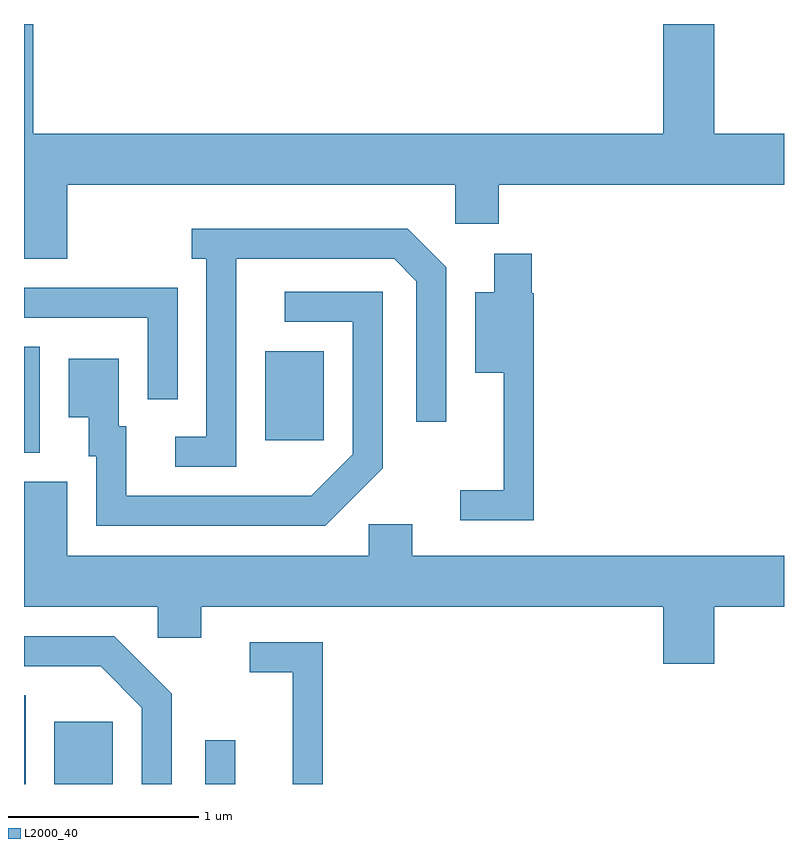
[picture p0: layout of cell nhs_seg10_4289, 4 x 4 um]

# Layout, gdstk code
import gdstk
lib = gdstk.Library(unit=1e-6, precision=1e-09)
def R(c, l, rs):  # rectangles x0, y0, x1, y1
    for r in rs: c.add(gdstk.rectangle(r[:2], r[2:], *l))
def P(c, l, *ps):  # polygons
    for p in ps: c.add(gdstk.Polygon(p, *l))
L2000_40 = (2000, 40)

nhs_seg10_4289 = lib.new_cell('nhs_seg10_4289')
R(nhs_seg10_4289, L2000_40, [(311.611,2128.522,311.619,2128.989), (311.771,2128.522,312.079,2128.849), (312.566,2128.522,312.724,2128.753), (311.611,2130.266,311.694,2130.824), (312.881,2130.331,313.189,2130.799)])
P(nhs_seg10_4289, L2000_40, [(311.839,2131.676),(313.881,2131.676),(313.881,2131.471),(314.109,2131.471),(314.109,2131.676),(315.611,2131.676),(315.611,2131.944),(315.244,2131.944),(315.244,2132.522),(314.976,2132.522),(314.976,2131.944),(311.659,2131.944),(311.659,2132.522),(311.611,2132.522),(311.611,2131.286),(311.839,2131.286)],
  [(312.729,2131.286),(313.559,2131.286),(313.676,2131.169),(313.676,2130.428),(313.834,2130.428),(313.834,2131.242),(313.632,2131.444),(312.493,2131.444),(312.493,2131.286),(312.571,2131.286),(312.571,2130.349),(312.408,2130.349),(312.408,2130.191),(312.729,2130.191)],
  [(314.294,2131.105),(314.284,2131.105),(314.284,2131.314),(314.086,2131.314),(314.086,2131.109),(313.986,2131.109),(313.986,2130.686),(314.136,2130.686),(314.136,2130.069),(313.908,2130.069),(313.908,2129.911),(314.294,2129.911)],
  [(312.419,2131.134),(311.611,2131.134),(311.611,2130.976),(312.261,2130.976),(312.261,2130.548),(312.419,2130.548)],
  [(313.499,2130.184),(313.499,2131.114),(312.983,2131.114),(312.983,2130.956),(313.341,2130.956),(313.341,2130.257),(313.124,2130.039),(312.149,2130.039),(312.149,2130.404),(312.109,2130.404),(312.109,2130.759),(311.846,2130.759),(311.846,2130.451),(311.951,2130.451),(311.951,2130.246),(311.991,2130.246),(311.991,2129.881),(313.197,2129.881)],
  [(315.244,2129.456),(315.611,2129.456),(315.611,2129.724),(313.654,2129.724),(313.654,2129.889),(313.426,2129.889),(313.426,2129.724),(311.839,2129.724),(311.839,2130.114),(311.611,2130.114),(311.611,2129.456),(312.316,2129.456),(312.316,2129.291),(312.544,2129.291),(312.544,2129.456),(314.976,2129.456),(314.976,2129.156),(315.244,2129.156)],
  [(312.389,2128.997),(312.087,2129.299),(311.611,2129.299),(311.611,2129.141),(312.014,2129.141),(312.231,2128.924),(312.231,2128.522),(312.389,2128.522)],
  [(313.184,2129.269),(312.798,2129.269),(312.798,2129.111),(313.026,2129.111),(313.026,2128.522),(313.184,2128.522)])

lib.write_gds('nhs_seg10_4289.gds')
